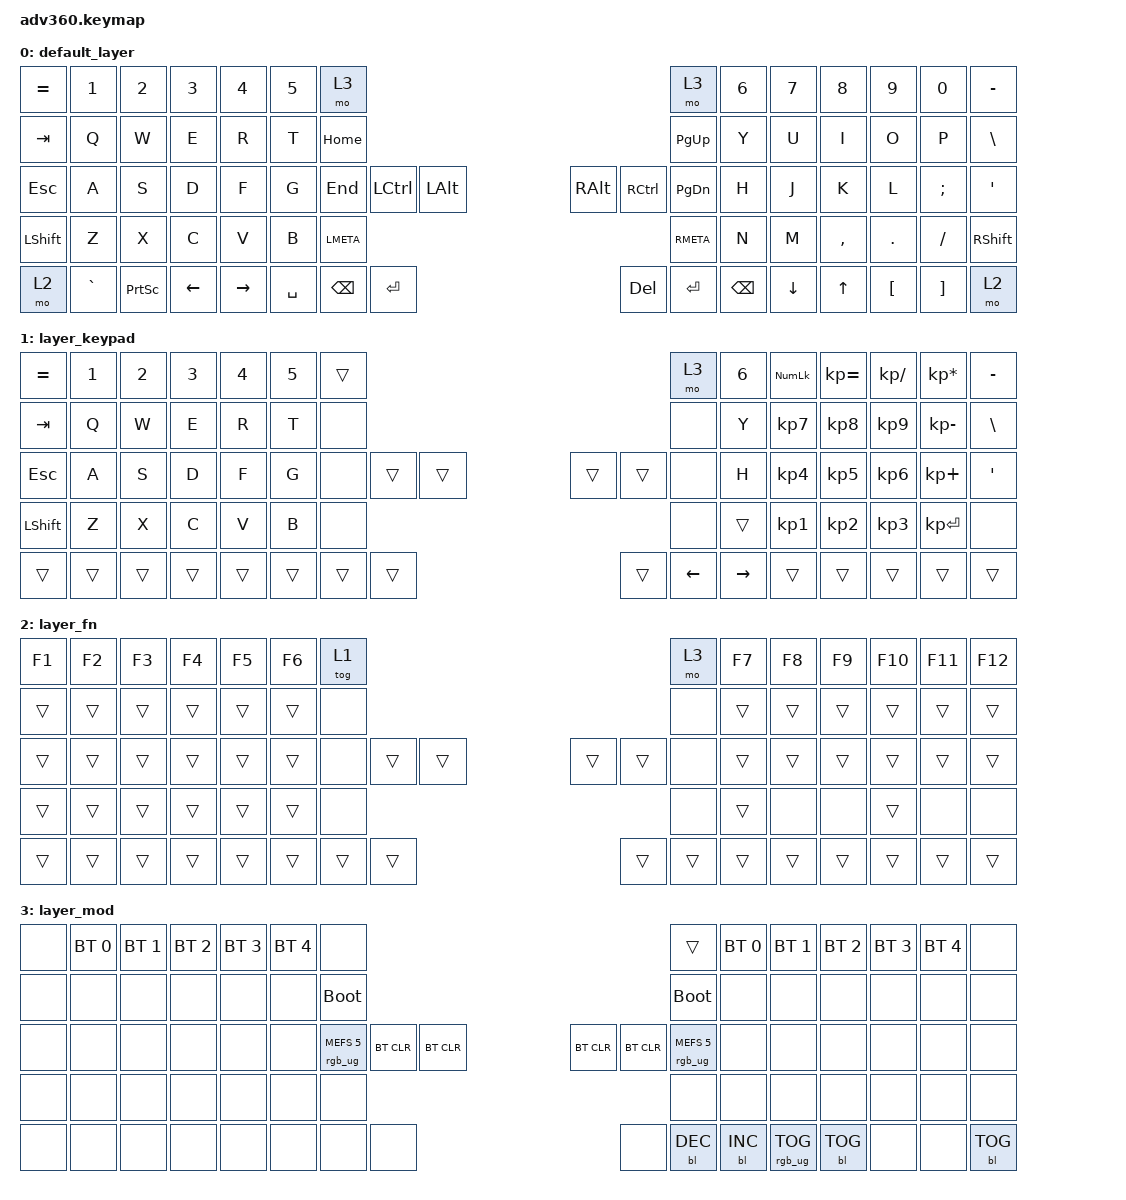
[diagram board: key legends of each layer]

/*
 * Copyright (c) 2020 The ZMK Contributors
 *
 * SPDX-License-Identifier: MIT
 */


/* THIS FILE WAS GENERATED!
 *
 * This file was generated automatically. You may or may not want to
 * edit it directly.
 */

#include <behaviors.dtsi>
#include <dt-bindings/zmk/keys.h>
#include <dt-bindings/zmk/bt.h>
#include <dt-bindings/zmk/rgb.h>
#include <dt-bindings/zmk/backlight.h>

/ {
  behaviors {
    #include "macros.dtsi"
    #include "version.dtsi"

    hm: homerow_mods {
        compatible = "zmk,behavior-hold-tap";
        label = "HOMEROW_MODS";
        #binding-cells = <2>;
        tapping-term-ms = <200>;
        quick_tap_ms = <175>;
        flavor = "tap-preferred";
        bindings = <&kp>, <&kp>;
    };
  };

    keymap {
        compatible = "zmk,keymap";


        default_layer {
            bindings = <
 &kp EQUAL     &kp N1           &kp N2    &kp N3     &kp N4  &kp N5                &mo 3                                                                              &mo 3  &kp N6          &kp N7        &kp N8            &kp N9             &kp N0        &kp MINUS
   &kp TAB      &kp Q            &kp W     &kp E      &kp R   &kp T             &kp HOME                                                                          &kp PG_UP   &kp Y           &kp U         &kp I             &kp O              &kp P         &kp BSLH
   &kp ESC      &kp A            &kp S     &kp D      &kp F   &kp G              &kp END      &kp LCTRL   &kp LALT                  &kp RIGHT_ALT  &kp RCTRL      &kp PG_DN   &kp H           &kp J         &kp K             &kp L           &kp SEMI          &kp SQT
 &kp LSHFT      &kp Z            &kp X     &kp C      &kp V   &kp B                                      &kp LMETA                      &kp RMETA                             &kp N           &kp M     &kp COMMA        &kp PERIOD          &kp SLASH  &kp RIGHT_SHIFT
     &mo 2  &kp GRAVE  &kp PRINTSCREEN  &kp LEFT  &kp RIGHT                    &kp SPACE  &kp BACKSPACE  &kp ENTER                     &kp DELETE  &kp ENTER  &kp BACKSPACE          &kp DOWN_ARROW  &kp UP_ARROW  &kp LEFT_BRACKET  &kp RIGHT_BRACKET            &mo 2
            >;
        };

        layer_keypad {
            bindings = <
 &kp EQUAL  &kp N1  &kp N2  &kp N3  &kp N4  &kp N5            &trans                                                        &mo 3  &kp N6       &kp KP_NUM     &kp KP_EQUAL    &kp KP_DIVIDE  &kp KP_MULTIPLY  &kp MINUS
   &kp TAB   &kp Q   &kp W   &kp E   &kp R   &kp T             &none                                                        &none   &kp Y        &kp KP_N7        &kp KP_N8        &kp KP_N9     &kp KP_MINUS   &kp BSLH
   &kp ESC   &kp A   &kp S   &kp D   &kp F   &kp G             &none  &trans  &trans                  &trans    &trans      &none   &kp H        &kp KP_N4        &kp KP_N5        &kp KP_N6      &kp KP_PLUS    &kp SQT
 &kp LSHFT   &kp Z   &kp X   &kp C   &kp V   &kp B                             &none                   &none                       &trans  &kp KP_NUMBER_1  &kp KP_NUMBER_2  &kp KP_NUMBER_3     &kp KP_ENTER      &none
    &trans  &trans  &trans  &trans  &trans                    &trans  &trans  &trans                  &trans  &kp LEFT  &kp RIGHT                   &trans           &trans           &trans           &trans     &trans
            >;
        };

        layer_fn {
            bindings = <
 &kp F1  &kp F2  &kp F3  &kp F4  &kp F5  &kp F6            &tog 1                                                   &mo 3  &kp F7  &kp F8  &kp F9  &kp F10  &kp F11  &kp F12
 &trans  &trans  &trans  &trans  &trans  &trans             &none                                                   &none  &trans  &trans  &trans   &trans   &trans   &trans
 &trans  &trans  &trans  &trans  &trans  &trans             &none  &trans  &trans                  &trans  &trans   &none  &trans  &trans  &trans   &trans   &trans   &trans
 &trans  &trans  &trans  &trans  &trans  &trans                             &none                   &none                  &trans   &none   &none   &trans    &none    &none
 &trans  &trans  &trans  &trans  &trans                    &trans  &trans  &trans                  &trans  &trans  &trans          &trans  &trans   &trans   &trans   &trans
            >;
        };

        layer_mod {
            bindings = <
  &none  &bt BT_SEL 0  &bt BT_SEL 1  &bt BT_SEL 2  &bt BT_SEL 3  &bt BT_SEL 4                             &none                                                                                  &trans  &bt BT_SEL 0     &bt BT_SEL 1  &bt BT_SEL 2  &bt BT_SEL 3  &bt BT_SEL 4       &none
  &none         &none         &none         &none         &none         &none                       &bootloader                                                                             &bootloader         &none            &none         &none         &none         &none       &none
  &none         &none         &none         &none         &none         &none            &rgb_ug RGB_MEFS_CMD 5  &bt BT_CLR  &bt BT_CLR                  &bt BT_CLR  &bt BT_CLR  &rgb_ug RGB_MEFS_CMD 5         &none            &none         &none         &none         &none       &none
  &none         &none         &none         &none         &none         &none                                                     &none                       &none                                             &none            &none         &none         &none         &none       &none
  &none         &none         &none         &none         &none                                           &none       &none       &none                       &none  &bl BL_DEC              &bl BL_INC                &rgb_ug RGB_TOG    &bl BL_TOG         &none         &none  &bl BL_TOG
            >;
        };

    };
};
